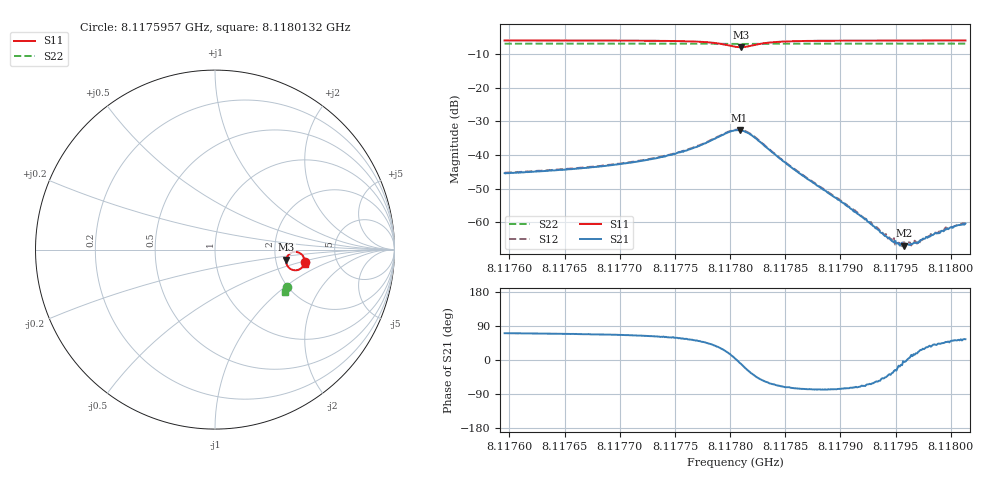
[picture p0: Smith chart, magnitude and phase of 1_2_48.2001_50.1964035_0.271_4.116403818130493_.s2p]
#  HZ  S  RI  R  50.00
! Rohde & Schwarz Vector Network Analyzer
! Rohde-Schwarz,ZNB20-2Port,1311601062101988,3.16
! Created: UTC 3/20/2024, 11:36:02 AM
! freq[Hz]  re:S11  im:S11  re:S21  im:S21  re:S12  im:S12  re:S22  im:S22
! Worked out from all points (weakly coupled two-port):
!   401 points, 8.1175957 GHz to 8.1180132 GHz, reference 50 ohm
!   highest |S21| = -32.59 dB at 8.1178086 GHz (marker M1); lowest = -67.0 dB at 8.1179579 GHz (marker M2)
!   lowest |S11| = -7.9 dB at 8.1178097 GHz (marker M3), VSWR 2.34, Z = 114 - j15.4 ohm
!   |S11| at or under -10 dB: nowhere
!   |S22| runs from -7.0 to -6.9 dB; largest |S21 - S12| = 0.00064
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8.1175957e9  0.5004 -0.0671  0.00177 0.00506  0.00185 0.00512  0.4016 -0.2084
8.11766563e9  0.4978 -0.0768  0.00234 0.0059  0.00246 0.00602  0.3995 -0.213
8.11770008e9  0.4953 -0.0833  0.00293 0.00667  0.00306 0.00675  0.3982 -0.2151
8.11773557e9  0.4898 -0.093  0.00431 0.00805  0.00446 0.00818  0.3968 -0.2178
8.11776689e9  0.4755 -0.1069  0.0078 0.0101  0.00792 0.0102  0.395 -0.22
8.11779194e9  0.434 -0.1137  0.0167 0.00981  0.0171 0.00987  0.3923 -0.2212
8.11780447e9  0.3994 -0.0823  0.0232 0.00174  0.0236 0.00155  0.3907 -0.2202
8.11780864e9  0.3961 -0.0621  0.0233 -0.00302  0.0237 -0.00307  0.3907 -0.2194
8.11780969e9  0.3966 -0.0566  0.023 -0.00392  0.0234 -0.00428  0.3908 -0.2191
8.11781491e9  0.407 -0.0326  0.0197 -0.00894  0.0202 -0.00929  0.3914 -0.2186
8.11782117e9  0.4289 -0.0162  0.0146 -0.0118  0.0148 -0.0122  0.3925 -0.2185
8.11784622e9  0.4835 -0.0276  0.00302 -0.0081  0.00307 -0.00817  0.394 -0.2212
8.1178744e9  0.4959 -0.0469  0.000868 -0.00387  0.000865 -0.00396  0.3935 -0.2239
8.11791303e9  0.4992 -0.0608  0.000432 -0.00135  0.000463 -0.00144  0.3922 -0.2268
8.11794434e9  0.4996 -0.0676  0.000459 -0.000353  0.000464 -0.000369  0.3912 -0.2289
8.11795269e9  0.4996 -0.069  0.000464 -0.000124  0.000479 -0.000131  0.391 -0.2296
8.11795791e9  0.4994 -0.0699  0.000446 -3.97e-05  0.000492 -9.39e-05  0.3908 -0.2299
8.11796418e9  0.4995 -0.0709  0.00046 0.00011  0.000447 5.4e-05  0.3905 -0.2303
8.11797148e9  0.4995 -0.0722  0.000478 0.000209  0.000449 0.000174  0.3904 -0.2309
8.11798401e9  0.4994 -0.074  0.000494 0.000421  0.000541 0.000402  0.3899 -0.2316
8.11800489e9  0.4991 -0.0767  0.000547 0.000693  0.000573 0.000682  0.3891 -0.2329
8.11801324e9  0.499 -0.0778  0.000548 0.000779  0.000593 0.000771  0.3888 -0.2336
